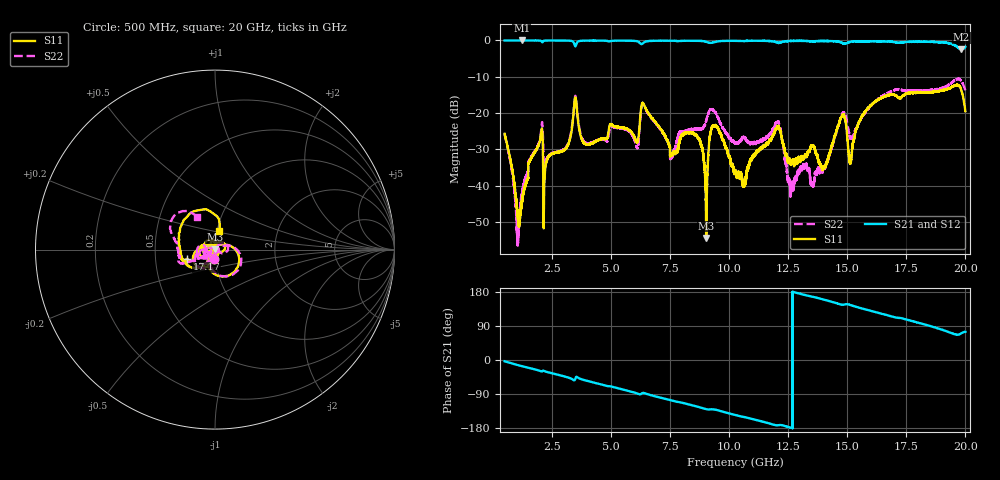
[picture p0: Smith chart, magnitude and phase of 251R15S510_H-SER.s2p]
!{251R15S510}
!Johanson Technology Inc.
!www.johansontechnology.com
!Test Board Conditions:
!Substrate Type  RO4350B
!Substrate Thickness  20 mil
!Substrate Dk  3.66
!TL Type: GCPW
!TL Trace Width  34 mil
!TL Gap  10 mil
!Electrode orientation  Horizontal
!DUT TOPOLOGY	SERIES
!Mounting Pad LxW  26x52 mil
! Created Thu Mar 12 17:14:51 2020
# mhz S ma R 50
! 2 Port Network Data from SP1.SP block
! freq  magS11  angS11  magS21  angS21  magS12  angS12  magS22  angS22
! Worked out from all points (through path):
!   19501 points, 500 MHz to 20 GHz, reference 50 ohm
!   highest |S21| = -0.01 dB at 1.226 GHz (marker M1); lowest = -2.5 dB at 19.83 GHz (marker M2)
!   group delay of S21, straight-line fit = 40.8 ps
!   lowest |S11| = -54.4 dB at 9.03 GHz (marker M3), VSWR 1.00, Z = 49.9 + j0.156 ohm
!   |S11| at or under -10 dB: start of sweep to end of sweep
!   |S22| runs from -56.6 to -10.6 dB; largest |S21 - S12| = 0.019
!   S11 on the Smith chart (normalised r, x): 500 MHz: 0.99, -0.10; 17.17 GHz: 0.73, -0.08; 20 GHz: 1.03, +0.22
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500  0.052 -94.9  0.9977 -3.3  0.998 -3.3  0.05121 -93.3
1039  0.004219 -151.1  0.9991 -13.1  0.9983 -13.1  0.001768 -47.2
1226  0.005686 108.1  0.9994 -16.1  0.9979 -16.1  0.00734 52.7
2013  0.04449 65.7  0.9923 -28.9  0.9928 -28.9  0.04741 46.2
2222  0.01756 85.0  0.9948 -30.3  0.9953 -30.2  0.02062 22.4
3486  0.1632 -44.0  0.8311 -50.5  0.8316 -50.5  0.1713 -38.3
3750  0.04515 -138.5  0.9886 -50.6  0.9891 -50.7  0.04717 -124.0
7000  0.06731 169.5  0.9896 -97.9  0.9921 -97.9  0.06628 -179.7
8660  0.04735 88.0  0.9888 -123.2  0.9875 -123.1  0.06094 -142.2
9030  0.001909 124.9  0.9596 -129.8  0.9595 -129.8  0.0791 -122.9
9361  0.06573 143.1  0.9443 -130.6  0.9451 -130.7  0.1069 -155.4
10250  0.01597 32.5  0.9885 -144.9  0.9878 -144.9  0.03882 -142.3
12046  0.06448 -156.7  0.9309 -172.4  0.9312 -172.4  0.07602 -130.1
12562  0.02347 120.5  0.982 -177.9  0.9813 -177.9  0.01078 113.7
13500  0.03525 139.8  0.971 167.1  0.9721 167.2  0.01088 -4.2
14031  0.01829 174.8  0.983 159.0  0.9837 159.1  0.01826 -45.7
14813  0.09508 -169.5  0.916 145.7  0.9141 145.7  0.1012 -162.6
15134  0.02067 -149.2  0.9561 145.1  0.9579 145.2  0.04474 174.3
16750  0.177 -150.7  0.9658 117.3  0.9587 116.9  0.1904 -156.0
17170  0.1618 -161.6  0.9318 111.1  0.9254 111.1  0.2137 -163.1
19831  0.204 93.8  0.7534 70.8  0.7547 70.9  0.2753 128.8
20000  0.1064 76.5  0.8171 74.4  0.8139 74.5  0.2058 119.4
